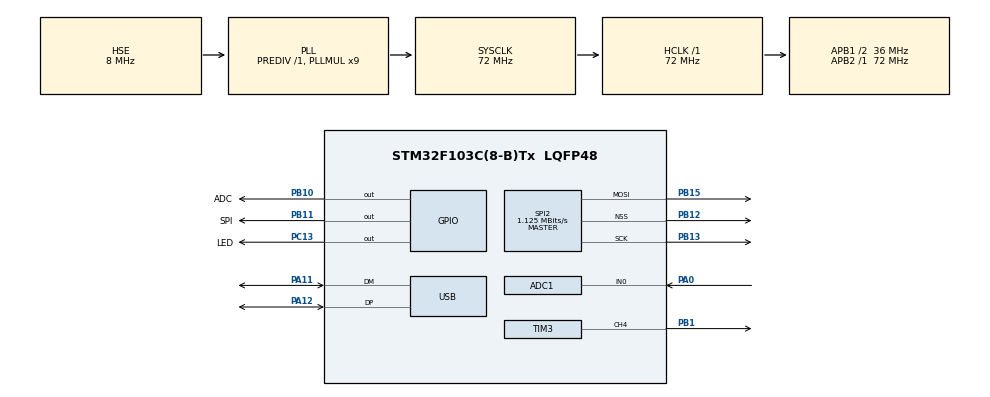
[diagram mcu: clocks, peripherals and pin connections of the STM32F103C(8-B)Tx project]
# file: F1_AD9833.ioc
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ADC1.Channel-1\#ChannelRegularConversion=ADC_CHANNEL_0
ADC1.ContinuousConvMode=DISABLE
ADC1.EnableRegularConversion=ENABLE
ADC1.ExternalTrigConv=ADC_EXTERNALTRIGCONV_T3_TRGO
ADC1.NbrOfConversion=1
ADC1.NbrOfConversionFlag=1
ADC1.Rank-1\#ChannelRegularConversion=1
ADC1.SamplingTime-1\#ChannelRegularConversion=ADC_SAMPLETIME_13CYCLES_5
ADC1.master=1
Dma.ADC1.0.Direction=DMA_PERIPH_TO_MEMORY
Dma.ADC1.0.Instance=DMA1_Channel1
Dma.ADC1.0.MemDataAlignment=DMA_MDATAALIGN_HALFWORD
Dma.ADC1.0.MemInc=DMA_MINC_ENABLE
Dma.ADC1.0.Mode=DMA_CIRCULAR
Dma.ADC1.0.PeriphDataAlignment=DMA_PDATAALIGN_HALFWORD
Dma.ADC1.0.PeriphInc=DMA_PINC_DISABLE
Dma.ADC1.0.Priority=DMA_PRIORITY_VERY_HIGH
Dma.Request0=ADC1
Dma.Request1=SPI2_TX
Dma.SPI2_TX.1.Direction=DMA_MEMORY_TO_PERIPH
Dma.SPI2_TX.1.Instance=DMA1_Channel5
Dma.SPI2_TX.1.MemDataAlignment=DMA_MDATAALIGN_HALFWORD
Dma.SPI2_TX.1.MemInc=DMA_MINC_ENABLE
Dma.SPI2_TX.1.Mode=DMA_CIRCULAR
Dma.SPI2_TX.1.PeriphDataAlignment=DMA_PDATAALIGN_HALFWORD
Dma.SPI2_TX.1.PeriphInc=DMA_PINC_DISABLE
Dma.SPI2_TX.1.Priority=DMA_PRIORITY_VERY_HIGH
Mcu.Family=STM32F1
Mcu.Name=STM32F103C(8-B)Tx
Mcu.Package=LQFP48
NVIC.ADC1_2_IRQn=true\:0\:0\:false\:false\:true\:true\:true
NVIC.DMA1_Channel1_IRQn=true\:0\:0\:false\:false\:true\:false\:true
NVIC.DMA1_Channel5_IRQn=true\:0\:0\:false\:false\:true\:false\:true
NVIC.PriorityGroup=NVIC_PRIORITYGROUP_4
NVIC.SPI2_IRQn=true\:0\:0\:false\:false\:true\:true\:true
NVIC.TIM3_IRQn=true\:0\:0\:false\:false\:true\:true\:true
NVIC.USB_LP_CAN1_RX0_IRQn=true\:0\:0\:false\:false\:true\:false\:true
PA0-WKUP.Signal=ADCx_IN0
PA11.Mode=Device
PA11.Signal=USB_DM
PA12.Mode=Device
PA12.Signal=USB_DP
PA13.Mode=Serial_Wire
PA13.Signal=SYS_JTMS-SWDIO
PA14.Mode=Serial_Wire
PA14.Signal=SYS_JTCK-SWCLK
PB1.GPIO_Speed=GPIO_SPEED_FREQ_HIGH
PB1.Signal=S_TIM3_CH4
PB10.GPIO_Label=ADC
PB10.GPIO_ModeDefaultOutputPP=GPIO_MODE_OUTPUT_PP
PB10.GPIO_PuPd=GPIO_PULLUP
PB10.GPIO_Speed=GPIO_SPEED_FREQ_HIGH
PB10.PinState=GPIO_PIN_SET
PB10.Signal=GPIO_Output
PB11.GPIO_Label=SPI
PB11.GPIO_ModeDefaultOutputPP=GPIO_MODE_OUTPUT_PP
PB11.GPIO_PuPd=GPIO_PULLUP
PB11.GPIO_Speed=GPIO_SPEED_FREQ_HIGH
PB11.PinState=GPIO_PIN_SET
PB11.Signal=GPIO_Output
PB12.Mode=NSS_Signal_Hard_Output
PB12.Signal=SPI2_NSS
PB13.Mode=TX_Only_Simplex_Unidirect_Master
PB13.Signal=SPI2_SCK
PB15.Mode=TX_Only_Simplex_Unidirect_Master
PB15.Signal=SPI2_MOSI
PC13-TAMPER-RTC.GPIO_Label=LED
PC13-TAMPER-RTC.GPIO_ModeDefaultOutputPP=GPIO_MODE_OUTPUT_PP
PC13-TAMPER-RTC.GPIO_PuPd=GPIO_PULLUP
PC13-TAMPER-RTC.GPIO_Speed=GPIO_SPEED_FREQ_HIGH
PC13-TAMPER-RTC.PinState=GPIO_PIN_SET
PC13-TAMPER-RTC.Signal=GPIO_Output
PC14-OSC32_IN.Mode=LSE-External-Oscillator
PC14-OSC32_IN.Signal=RCC_OSC32_IN
PC15-OSC32_OUT.Mode=LSE-External-Oscillator
PC15-OSC32_OUT.Signal=RCC_OSC32_OUT
PD0-OSC_IN.Mode=HSE-External-Oscillator
PD0-OSC_IN.Signal=RCC_OSC_IN
PD1-OSC_OUT.Mode=HSE-External-Oscillator
PD1-OSC_OUT.Signal=RCC_OSC_OUT
ProjectManager.HeapSize=0x200
ProjectManager.StackSize=0x400
ProjectManager.TargetToolchain=SW4STM32
RCC.ADCPresc=RCC_ADCPCLK2_DIV6
RCC.AHBFreq_Value=72000000
RCC.APB1CLKDivider=RCC_HCLK_DIV2
RCC.APB1Freq_Value=36000000
RCC.APB1TimFreq_Value=72000000
RCC.APB2Freq_Value=72000000
RCC.APB2TimFreq_Value=72000000
RCC.HCLKFreq_Value=72000000
RCC.PLLMUL=RCC_PLL_MUL9
RCC.PLLSourceVirtual=RCC_PLLSOURCE_HSE
RCC.SYSCLKFreq_VALUE=72000000
RCC.SYSCLKSource=RCC_SYSCLKSOURCE_PLLCLK
RCC.USBFreq_Value=48000000
RCC.USBPrescaler=RCC_USBCLKSOURCE_PLL_DIV1_5
SH.ADCx_IN0.0=ADC1_IN0,IN0
SH.S_TIM3_CH4.0=TIM3_CH4,PWM Generation4 CH4
SPI2.BaudRatePrescaler=SPI_BAUDRATEPRESCALER_32
SPI2.CLKPolarity=SPI_POLARITY_HIGH
SPI2.CalculateBaudRate=1.125 MBits/s
SPI2.DataSize=SPI_DATASIZE_16BIT
SPI2.Direction=SPI_DIRECTION_2LINES
SPI2.Mode=SPI_MODE_MASTER
SPI2.VirtualNSS=VM_NSSHARD
SPI2.VirtualType=VM_MASTER
TIM3.Channel-Output\ Compare1\ No\ Output=TIM_CHANNEL_1
TIM3.Channel-PWM\ Generation4\ CH4=TIM_CHANNEL_4
TIM3.OCFastMode_PWM-PWM\ Generation4\ CH4=TIM_OCFAST_ENABLE
TIM3.OCMode_1=TIM_OCMODE_ACTIVE
TIM3.Period=1
TIM3.Prescaler=1023
TIM3.Pulse-Output\ Compare1\ No\ Output=1
TIM3.Pulse-PWM\ Generation4\ CH4=1
TIM3.TIM_MasterOutputTrigger=TIM_TRGO_UPDATE
TIM3.TIM_MasterSlaveMode=TIM_MASTERSLAVEMODE_ENABLE
USB_DEVICE.CLASS_NAME_FS=CDC
USB_DEVICE.VirtualMode=Cdc
USB_DEVICE.VirtualModeFS=Cdc_FS
VP_RTC_No_RTC_Output.Mode=RTC_OUT_NO
VP_RTC_VS_RTC_Activate.Mode=RTC_Enabled
VP_RTC_VS_RTC_Calendar.Mode=RTC_Calendar
VP_TIM3_VS_ClockSourceINT.Mode=Internal
VP_TIM3_VS_no_output1.Mode=Output Compare1 No Output
VP_USB_DEVICE_VS_USB_DEVICE_CDC_FS.Mode=CDC_FS
board=custom

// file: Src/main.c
/* USER CODE BEGIN Header */
/**
 ******************************************************************************
 * @file           : main.c
 * @brief          : Main program body
 ******************************************************************************
 * @attention
 *
 * <h2><center>&copy; Copyright (c) 2019 STMicroelectronics.
 * All rights reserved.</center></h2>
 *
 * This software component is licensed by ST under BSD 3-Clause license,
 * the "License"; You may not use this file except in compliance with the
 * License. You may obtain a copy of the License at:
 *                        opensource.org/licenses/BSD-3-Clause
 *
 ******************************************************************************
 */
/* USER CODE END Header */

#include "main.h"
#include "usb_device.h"

/* USER CODE BEGIN Includes */
#include "math.h"
/* USER CODE END Includes */

/* USER CODE BEGIN PD */
#define BUFF 2
/* USER CODE END PD */

/* USER CODE BEGIN PM */
static uint16_t ADCBUFF[BUFF];
static uint16_t SPI_Buff[2 * BUFF];
static double carrier = 0.0;
/* USER CODE END PM */

ADC_HandleTypeDef hadc1;
DMA_HandleTypeDef hdma_adc1;

RTC_HandleTypeDef hrtc;

SPI_HandleTypeDef hspi2;
DMA_HandleTypeDef hdma_spi2_tx;

TIM_HandleTypeDef htim3;

void SystemClock_Config(void);
static void MX_GPIO_Init(void);
static void MX_DMA_Init(void);
static void MX_ADC1_Init(void);
static void MX_TIM3_Init(void);
static void MX_SPI2_Init(void);
static void MX_RTC_Init(void);

/* USER CODE BEGIN 0 */
void AD9833_tx(SPI_HandleTypeDef *hspi, uint16_t dt) {
	static uint16_t data[1] = { 0 };
	data[0] = dt;
	//HAL_GPIO_WritePin(CS_GPIO_Port, CS_Pin, 0);
	HAL_SPI_Transmit(hspi, &data[0], 1, HAL_MAX_DELAY);
	//HAL_GPIO_WritePin(CS_GPIO_Port, CS_Pin, 1);
}

void AD9833_Init(SPI_HandleTypeDef *hspi) {
	uint16_t data;
	data = 0x21 << 8;
	AD9833_tx(hspi, data);
}

uint64_t AD9833_freq_calc(uint64_t freq, uint64_t clk) {
	static uint64_t ret;
	static uint64_t retf;

	retf = (freq * (2 << 27)) / clk;
	ret = retf;
	return ret;
}

void AD9833_set(SPI_HandleTypeDef *hspi, uint32_t freq, uint16_t phase,
		uint8_t reset) {

	static uint16_t fq1maskand = 0b0011111111111111;
	static uint16_t fq1maskor = 0b0100000000000000;
	static uint16_t ph1maskand = 0b1101111111111111;
	static uint16_t ph1markor = 0b1100000000000000;
	static uint16_t ftmask = 0b0011111111111111;
	static uint16_t twmask = 0b0000111111111111;

	static uint16_t fqlsb;
	static uint16_t fqmsb;

	static uint64_t FreqReg;
	static uint16_t PhReg;
	const uint64_t fmclk = 25000000;

	if (reset)
		AD9833_Init(hspi);

	//FreqReg = (freq << 28) / fmclk;
	FreqReg = AD9833_freq_calc(freq, fmclk);
	fqlsb = FreqReg & ftmask;
	fqmsb = (FreqReg >> 14) & ftmask;

	fqlsb = fq1maskand & fqlsb;
	fqlsb = fq1maskor | fqlsb;
	fqmsb = fq1maskand & fqmsb;
	fqmsb = fq1maskor | fqmsb;

	PhReg = (phase * 2 * M_PI) / 4096;
	PhReg &= twmask;

	PhReg &= ph1maskand;
	PhReg |= ph1markor;

	AD9833_tx(hspi, fqlsb);
	AD9833_tx(hspi, fqmsb);
	AD9833_tx(hspi, PhReg);
	if (reset)
		AD9833_tx(hspi, 0x2000);
}

void AD9833_set_DMA(SPI_HandleTypeDef *hspi, uint32_t freq, uint16_t phase,
		uint8_t reset) {

	static uint16_t fq1maskand = 0b0011111111111111;
	static uint16_t fq1maskor = 0b0100000000000000;
	static uint16_t ph1maskand = 0b1101111111111111;
	static uint16_t ph1markor = 0b1100000000000000;
	static uint16_t ftmask = 0b0011111111111111;
	static uint16_t twmask = 0b0000111111111111;

	static uint16_t fqlsb;
	static uint16_t fqmsb;

	static uint64_t FreqReg;
	static uint16_t PhReg;
	const uint64_t fmclk = 25000000;
	static uint16_t Tx_Buff[5] = { 0, 0, 0, 0, 0 };

	static uint8_t i;

	i = 0;

	if (reset) {
		Tx_Buff[i] = 0x2100;
		i++;
	}

	//FreqReg = (freq << 28) / fmclk;
	FreqReg = AD9833_freq_calc(freq, fmclk);
	fqlsb = FreqReg & ftmask;
	fqmsb = (FreqReg >> 14) & ftmask;

	fqlsb = fq1maskand & fqlsb;
	fqlsb = fq1maskor | fqlsb;
	fqmsb = fq1maskand & fqmsb;
	fqmsb = fq1maskor | fqmsb;

	PhReg = (phase * 2 * M_PI) / 4096;
	PhReg &= twmask;

	PhReg &= ph1maskand;
	PhReg |= ph1markor;

	//AD9833_tx(hspi, fqlsb);
	//AD9833_tx(hspi, fqmsb);
	//AD9833_tx(hspi, PhReg);

	Tx_Buff[i] = fqlsb;
	i++;
	Tx_Buff[i] = fqmsb;
	i++;
	Tx_Buff[i] = PhReg;
	i++;
	//Tx_Buff[i] = 0xC000;
	//i++;

	if (reset) {
		Tx_Buff[i] = 0x2000;
		i++;
	}
	HAL_SPI_Transmit_DMA(hspi, Tx_Buff, i);
}

void AD9833_set_DMA_reg(uint32_t freq, uint16_t *Tx_Buff) {

	static uint16_t fq1maskand = 0b0011111111111111;
	static uint16_t fq1maskor = 0b0100000000000000;
	static uint16_t ftmask = 0b0011111111111111;

	static uint16_t fqlsb;
	static uint16_t fqmsb;
	static uint64_t FreqReg;

	const uint64_t fmclk = 25000000;

	FreqReg = AD9833_freq_calc(freq, fmclk);
	fqlsb = FreqReg & ftmask;
	fqmsb = (FreqReg >> 14) & ftmask;

	fqlsb = fq1maskand & fqlsb;
	fqlsb = fq1maskor | fqlsb;
	fqmsb = fq1maskand & fqmsb;
	fqmsb = fq1maskor | fqmsb;

	//Tx_Buff[0] = 0b1000000000000000;
	//Tx_Buff[1] = 0b1000000000000000;

	Tx_Buff[0] = fqlsb;
	Tx_Buff[1] = fqmsb;
}

void HAL_SPI_TxHalfCpltCallback(SPI_HandleTypeDef *hspi) {

// do what you want , par example, un I/O toggle pour voir au scope si c'est ok
	HAL_GPIO_WritePin(SPI_GPIO_Port, SPI_Pin, 0);
}

void HAL_SPI_TxCpltCallback(SPI_HandleTypeDef *hspi) {

// do what you want par example, un I/O toggle pour voir au scope si c'est ok
	HAL_GPIO_WritePin(SPI_GPIO_Port, SPI_Pin, 1);
}

void HAL_ADC_ConvHalfCpltCallback(ADC_HandleTypeDef* hadc) {
	static uint16_t i;
	i = 0;
	while (i < BUFF / 2) {
		//AD9833_set_DMA_reg(ADCBUFF[i], &SPI_Buff[2 * i]);
		AD9833_set_DMA_reg(400, &SPI_Buff[2 * i]);
		i++;
	}
	HAL_GPIO_WritePin(ADC_GPIO_Port, ADC_Pin, 1);
}

void HAL_ADC_ConvCpltCallback(ADC_HandleTypeDef* hadc) {
	static uint16_t i;
	i = BUFF / 2;
	while (i < BUFF) {
		//AD9833_set_DMA_reg(ADCBUFF[i], &SPI_Buff[2 * i]);
		AD9833_set_DMA_reg(800, &SPI_Buff[2 * i]);
		i++;
	}
	HAL_GPIO_WritePin(ADC_GPIO_Port, ADC_Pin, 0);
}

/* USER CODE END 0 */

int main(void)
{

  /* MCU Configuration--------------------------------------------------------*/

  /* Reset of all peripherals, Initializes the Flash interface and the Systick. */
  HAL_Init();

  /* Configure the system clock */
  SystemClock_Config();

  /* Initialize all configured peripherals */
  MX_GPIO_Init();
  MX_DMA_Init();
  MX_ADC1_Init();
  MX_TIM3_Init();
  MX_SPI2_Init();
  MX_USB_DEVICE_Init();
  MX_RTC_Init();
  /* USER CODE BEGIN 2 */
	//AD9833_set_DMA(&hspi2, 50.0, 0, 1);
	HAL_GPIO_WritePin(LED_GPIO_Port, LED_Pin, 1);
	AD9833_set(&hspi2, 1000000, 0, 1);
	HAL_Delay(1000);
	//AD9833_set_DMA(&hspi2, 50.0, 0, 1);
	//HAL_TIM_Base_Start(&htim3);
	HAL_TIM_PWM_Start(&htim3, TIM_CHANNEL_4);
	HAL_TIM_OC_Start(&htim3, TIM_CHANNEL_1);
	//HAL_SPI_Transmit_DMA(&hspi2, (uint8_t*) SPI_Buff, BUFF * 2);
	HAL_Delay(5);
	//HAL_ADC_Start_DMA(&hadc1, ADCBUFF, BUFF);
  /* USER CODE END 2 */

  /* Infinite loop */
	while (1) {

    /* USER CODE BEGIN 3 */
	}
	return 0;
  /* USER CODE END 3 */
}

void SystemClock_Config(void)
{
  RCC_OscInitTypeDef RCC_OscInitStruct = {0};
  RCC_ClkInitTypeDef RCC_ClkInitStruct = {0};
  RCC_PeriphCLKInitTypeDef PeriphClkInit = {0};

  /** Initializes the CPU, AHB and APB busses clocks
  */
  RCC_OscInitStruct.OscillatorType = RCC_OSCILLATORTYPE_LSI|RCC_OSCILLATORTYPE_HSE;
  RCC_OscInitStruct.HSEState = RCC_HSE_ON;
  RCC_OscInitStruct.HSEPredivValue = RCC_HSE_PREDIV_DIV1;
  RCC_OscInitStruct.HSIState = RCC_HSI_ON;
  RCC_OscInitStruct.LSIState = RCC_LSI_ON;
  RCC_OscInitStruct.PLL.PLLState = RCC_PLL_ON;
  RCC_OscInitStruct.PLL.PLLSource = RCC_PLLSOURCE_HSE;
  RCC_OscInitStruct.PLL.PLLMUL = RCC_PLL_MUL9;
  if (HAL_RCC_OscConfig(&RCC_OscInitStruct) != HAL_OK)
  {
    Error_Handler();
  }
  /** Initializes the CPU, AHB and APB busses clocks
  */
  RCC_ClkInitStruct.ClockType = RCC_CLOCKTYPE_HCLK|RCC_CLOCKTYPE_SYSCLK
                              |RCC_CLOCKTYPE_PCLK1|RCC_CLOCKTYPE_PCLK2;
  RCC_ClkInitStruct.SYSCLKSource = RCC_SYSCLKSOURCE_PLLCLK;
  RCC_ClkInitStruct.AHBCLKDivider = RCC_SYSCLK_DIV1;
  RCC_ClkInitStruct.APB1CLKDivider = RCC_HCLK_DIV2;
  RCC_ClkInitStruct.APB2CLKDivider = RCC_HCLK_DIV1;

  if (HAL_RCC_ClockConfig(&RCC_ClkInitStruct, FLASH_LATENCY_2) != HAL_OK)
  {
    Error_Handler();
  }
  PeriphClkInit.PeriphClockSelection = RCC_PERIPHCLK_RTC|RCC_PERIPHCLK_ADC
                              |RCC_PERIPHCLK_USB;
  PeriphClkInit.RTCClockSelection = RCC_RTCCLKSOURCE_LSI;
  PeriphClkInit.AdcClockSelection = RCC_ADCPCLK2_DIV6;
  PeriphClkInit.UsbClockSelection = RCC_USBCLKSOURCE_PLL_DIV1_5;
  if (HAL_RCCEx_PeriphCLKConfig(&PeriphClkInit) != HAL_OK)
  {
    Error_Handler();
  }
}

static void MX_ADC1_Init(void)
{

  ADC_ChannelConfTypeDef sConfig = {0};

  /** Common config
  */
  hadc1.Instance = ADC1;
  hadc1.Init.ScanConvMode = ADC_SCAN_DISABLE;
  hadc1.Init.ContinuousConvMode = DISABLE;
  hadc1.Init.DiscontinuousConvMode = DISABLE;
  hadc1.Init.ExternalTrigConv = ADC_EXTERNALTRIGCONV_T3_TRGO;
  hadc1.Init.DataAlign = ADC_DATAALIGN_RIGHT;
  hadc1.Init.NbrOfConversion = 1;
  if (HAL_ADC_Init(&hadc1) != HAL_OK)
  {
    Error_Handler();
  }
  /** Configure Regular Channel
  */
  sConfig.Channel = ADC_CHANNEL_0;
  sConfig.Rank = ADC_REGULAR_RANK_1;
  sConfig.SamplingTime = ADC_SAMPLETIME_13CYCLES_5;
  if (HAL_ADC_ConfigChannel(&hadc1, &sConfig) != HAL_OK)
  {
    Error_Handler();
  }

}

static void MX_RTC_Init(void)
{

  RTC_TimeTypeDef sTime = {0};
  RTC_DateTypeDef DateToUpdate = {0};

  /** Initialize RTC Only
  */
  hrtc.Instance = RTC;
  hrtc.Init.AsynchPrediv = RTC_AUTO_1_SECOND;
  hrtc.Init.OutPut = RTC_OUTPUTSOURCE_NONE;
  if (HAL_RTC_Init(&hrtc) != HAL_OK)
  {
    Error_Handler();
  }

  /** Initialize RTC and set the Time and Date
  */
  sTime.Hours = 0x0;
  sTime.Minutes = 0x0;
  sTime.Seconds = 0x0;

  if (HAL_RTC_SetTime(&hrtc, &sTime, RTC_FORMAT_BCD) != HAL_OK)
  {
    Error_Handler();
  }
  DateToUpdate.WeekDay = RTC_WEEKDAY_MONDAY;
  DateToUpdate.Month = RTC_MONTH_JANUARY;
  DateToUpdate.Date = 0x1;
  DateToUpdate.Year = 0x0;

  if (HAL_RTC_SetDate(&hrtc, &DateToUpdate, RTC_FORMAT_BCD) != HAL_OK)
  {
    Error_Handler();
  }

}

static void MX_SPI2_Init(void)
{

  /* SPI2 parameter configuration*/
  hspi2.Instance = SPI2;
  hspi2.Init.Mode = SPI_MODE_MASTER;
  hspi2.Init.Direction = SPI_DIRECTION_2LINES;
  hspi2.Init.DataSize = SPI_DATASIZE_16BIT;
  hspi2.Init.CLKPolarity = SPI_POLARITY_HIGH;
  hspi2.Init.CLKPhase = SPI_PHASE_1EDGE;
  hspi2.Init.NSS = SPI_NSS_HARD_OUTPUT;
  hspi2.Init.BaudRatePrescaler = SPI_BAUDRATEPRESCALER_32;
  hspi2.Init.FirstBit = SPI_FIRSTBIT_MSB;
  hspi2.Init.TIMode = SPI_TIMODE_DISABLE;
  hspi2.Init.CRCCalculation = SPI_CRCCALCULATION_DISABLE;
  hspi2.Init.CRCPolynomial = 10;
  if (HAL_SPI_Init(&hspi2) != HAL_OK)
  {
    Error_Handler();
  }

}

static void MX_TIM3_Init(void)
{

  TIM_ClockConfigTypeDef sClockSourceConfig = {0};
  TIM_MasterConfigTypeDef sMasterConfig = {0};
  TIM_OC_InitTypeDef sConfigOC = {0};

  htim3.Instance = TIM3;
  htim3.Init.Prescaler = 1023;
  htim3.Init.CounterMode = TIM_COUNTERMODE_UP;
  htim3.Init.Period = 1;
  htim3.Init.ClockDivision = TIM_CLOCKDIVISION_DIV1;
  htim3.Init.AutoReloadPreload = TIM_AUTORELOAD_PRELOAD_DISABLE;
  if (HAL_TIM_Base_Init(&htim3) != HAL_OK)
  {
    Error_Handler();
  }
  sClockSourceConfig.ClockSource = TIM_CLOCKSOURCE_INTERNAL;
  if (HAL_TIM_ConfigClockSource(&htim3, &sClockSourceConfig) != HAL_OK)
  {
    Error_Handler();
  }
  if (HAL_TIM_OC_Init(&htim3) != HAL_OK)
  {
    Error_Handler();
  }
  if (HAL_TIM_PWM_Init(&htim3) != HAL_OK)
  {
    Error_Handler();
  }
  sMasterConfig.MasterOutputTrigger = TIM_TRGO_UPDATE;
  sMasterConfig.MasterSlaveMode = TIM_MASTERSLAVEMODE_ENABLE;
  if (HAL_TIMEx_MasterConfigSynchronization(&htim3, &sMasterConfig) != HAL_OK)
  {
    Error_Handler();
  }
  sConfigOC.OCMode = TIM_OCMODE_ACTIVE;
  sConfigOC.Pulse = 1;
  sConfigOC.OCPolarity = TIM_OCPOLARITY_HIGH;
  sConfigOC.OCFastMode = TIM_OCFAST_DISABLE;
  if (HAL_TIM_OC_ConfigChannel(&htim3, &sConfigOC, TIM_CHANNEL_1) != HAL_OK)
  {
    Error_Handler();
  }
  sConfigOC.OCMode = TIM_OCMODE_PWM1;
  sConfigOC.OCFastMode = TIM_OCFAST_ENABLE;
  if (HAL_TIM_PWM_ConfigChannel(&htim3, &sConfigOC, TIM_CHANNEL_4) != HAL_OK)
  {
    Error_Handler();
  }
  HAL_TIM_MspPostInit(&htim3);

}

static void MX_DMA_Init(void)
{
  /* DMA controller clock enable */
  __HAL_RCC_DMA1_CLK_ENABLE();

  /* DMA interrupt init */
  /* DMA1_Channel1_IRQn interrupt configuration */
  HAL_NVIC_SetPriority(DMA1_Channel1_IRQn, 0, 0);
  HAL_NVIC_EnableIRQ(DMA1_Channel1_IRQn);
  /* DMA1_Channel5_IRQn interrupt configuration */
  HAL_NVIC_SetPriority(DMA1_Channel5_IRQn, 0, 0);
  HAL_NVIC_EnableIRQ(DMA1_Channel5_IRQn);

}

static void MX_GPIO_Init(void)
{
  GPIO_InitTypeDef GPIO_InitStruct = {0};

  /* GPIO Ports Clock Enable */
  __HAL_RCC_GPIOC_CLK_ENABLE();
  __HAL_RCC_GPIOD_CLK_ENABLE();
  __HAL_RCC_GPIOA_CLK_ENABLE();
  __HAL_RCC_GPIOB_CLK_ENABLE();

  /*Configure GPIO pin Output Level */
  HAL_GPIO_WritePin(LED_GPIO_Port, LED_Pin, GPIO_PIN_SET);

  /*Configure GPIO pin Output Level */
  HAL_GPIO_WritePin(GPIOB, ADC_Pin|SPI_Pin, GPIO_PIN_SET);

  /*Configure GPIO pin : LED_Pin */
  GPIO_InitStruct.Pin = LED_Pin;
  GPIO_InitStruct.Mode = GPIO_MODE_OUTPUT_PP;
  GPIO_InitStruct.Pull = GPIO_PULLUP;
  GPIO_InitStruct.Speed = GPIO_SPEED_FREQ_HIGH;
  HAL_GPIO_Init(LED_GPIO_Port, &GPIO_InitStruct);

  /*Configure GPIO pins : ADC_Pin SPI_Pin */
  GPIO_InitStruct.Pin = ADC_Pin|SPI_Pin;
  GPIO_InitStruct.Mode = GPIO_MODE_OUTPUT_PP;
  GPIO_InitStruct.Pull = GPIO_PULLUP;
  GPIO_InitStruct.Speed = GPIO_SPEED_FREQ_HIGH;
  HAL_GPIO_Init(GPIOB, &GPIO_InitStruct);

}

void Error_Handler(void)
{
}

/************************ (C) COPYRIGHT STMicroelectronics *****END OF FILE****/
